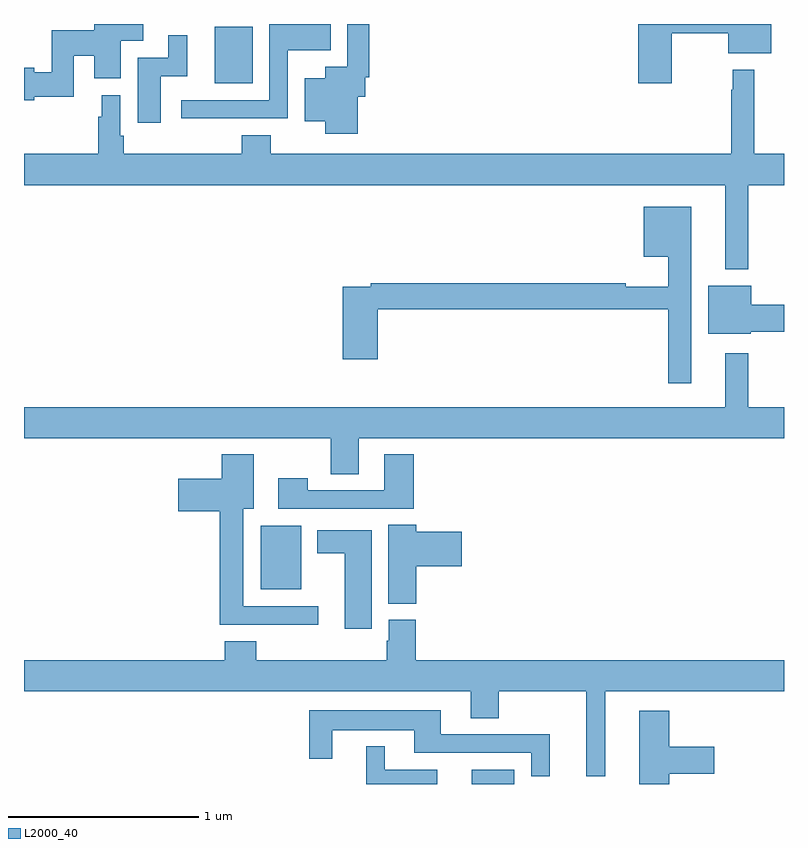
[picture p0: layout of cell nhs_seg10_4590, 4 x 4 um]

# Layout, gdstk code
import gdstk
lib = gdstk.Library(unit=1e-6, precision=1e-09)
def R(c, l, rs):  # rectangles x0, y0, x1, y1
    for r in rs: c.add(gdstk.rectangle(r[:2], r[2:], *l))
def P(c, l, *ps):  # polygons
    for p in ps: c.add(gdstk.Polygon(p, *l))
L2000_40 = (2000, 40)

nhs_seg10_4590 = lib.new_cell('nhs_seg10_4590')
R(nhs_seg10_4590, L2000_40, [(375.356,1294.5,375.58,1294.576), (374.246,1295.525,374.458,1295.86), (374.003,1298.189,374.203,1298.485)])
P(nhs_seg10_4590, L2000_40, [(373.054,1298.118),(373.263,1298.118),(373.263,1298.332),(373.37,1298.332),(373.37,1298.214),(373.51,1298.214),(373.51,1298.411),(373.627,1298.411),(373.627,1298.5),(373.37,1298.5),(373.37,1298.468),(373.147,1298.468),(373.147,1298.246),(373.054,1298.246),(373.054,1298.27),(373,1298.27),(373,1298.099),(373.054,1298.099)],
  [(376.41,1298.452),(376.706,1298.452),(376.706,1298.345),(376.933,1298.345),(376.933,1298.5),(376.232,1298.5),(376.232,1298.187),(376.41,1298.187)],
  [(374.063,1298.004),(374.388,1298.004),(374.388,1298.363),(374.615,1298.363),(374.615,1298.5),(374.292,1298.5),(374.292,1298.1),(373.827,1298.1),(373.827,1298.003),(374.063,1298.003)],
  [(374.756,1298.117),(374.796,1298.117),(374.796,1298.221),(374.816,1298.221),(374.816,1298.5),(374.7,1298.5),(374.7,1298.275),(374.585,1298.275),(374.585,1298.215),(374.477,1298.215),(374.477,1297.988),(374.585,1297.988),(374.585,1297.923),(374.756,1297.923)],
  [(373.72,1298.226),(373.858,1298.226),(373.858,1298.44),(373.76,1298.44),(373.76,1298.322),(373.598,1298.322),(373.598,1297.98),(373.72,1297.98)],
  [(376.813,1297.652),(377,1297.652),(377,1297.816),(376.843,1297.816),(376.843,1298.26),(376.729,1298.26),(376.729,1298.153),(376.722,1298.153),(376.722,1297.816),(374.299,1297.816),(374.299,1297.915),(374.147,1297.915),(374.147,1297.816),(373.526,1297.816),(373.526,1297.912),(373.506,1297.912),(373.506,1298.125),(373.409,1298.125),(373.409,1298.012),(373.39,1298.012),(373.39,1297.816),(373,1297.816),(373,1297.652),(376.691,1297.652),(376.691,1297.208),(376.813,1297.208)],
  [(376.513,1297.537),(376.262,1297.537),(376.262,1297.274),(376.392,1297.274),(376.392,1297.117),(376.166,1297.117),(376.166,1297.136),(374.824,1297.136),(374.824,1297.116),(374.678,1297.116),(374.678,1296.735),(374.861,1296.735),(374.861,1297),(376.392,1297),(376.392,1296.609),(376.513,1296.609)],
  [(376.824,1296.88),(377,1296.88),(377,1297.022),(376.828,1297.022),(376.828,1297.123),(376.601,1297.123),(376.601,1296.869),(376.824,1296.869)],
  [(374.761,1296.32),(377,1296.32),(377,1296.484),(376.813,1296.484),(376.813,1296.766),(376.691,1296.766),(376.691,1296.484),(373,1296.484),(373,1296.32),(374.614,1296.32),(374.614,1296.13),(374.761,1296.13)],
  [(375.05,1296.235),(374.897,1296.235),(374.897,1296.045),(374.493,1296.045),(374.493,1296.109),(374.337,1296.109),(374.337,1295.949),(375.05,1295.949)],
  [(374.548,1295.436),(374.155,1295.436),(374.155,1295.948),(374.209,1295.948),(374.209,1296.235),(374.042,1296.235),(374.042,1296.106),(373.812,1296.106),(373.812,1295.936),(374.03,1295.936),(374.03,1295.339),(374.548,1295.339)],
  [(375.065,1295.645),(375.304,1295.645),(375.304,1295.828),(375.065,1295.828),(375.065,1295.864),(374.918,1295.864),(374.918,1295.449),(375.065,1295.449)],
  [(374.83,1295.836),(374.543,1295.836),(374.543,1295.714),(374.687,1295.714),(374.687,1295.316),(374.83,1295.316)],
  [(375.35,1294.846),(375.498,1294.846),(375.498,1294.988),(375.959,1294.988),(375.959,1294.542),(376.058,1294.542),(376.058,1294.988),(377,1294.988),(377,1295.152),(375.062,1295.152),(375.062,1295.364),(374.921,1295.364),(374.921,1295.253),(374.909,1295.253),(374.909,1295.152),(374.222,1295.152),(374.222,1295.251),(374.057,1295.251),(374.057,1295.152),(373,1295.152),(373,1294.988),(375.35,1294.988)],
  [(375.767,1294.761),(375.193,1294.761),(375.193,1294.888),(374.502,1294.888),(374.502,1294.632),(374.623,1294.632),(374.623,1294.784),(375.053,1294.784),(375.053,1294.665),(375.669,1294.665),(375.669,1294.542),(375.767,1294.542)],
  [(376.397,1294.553),(376.633,1294.553),(376.633,1294.695),(376.397,1294.695),(376.397,1294.885),(376.238,1294.885),(376.238,1294.5),(376.397,1294.5)],
  [(375.176,1294.575),(374.899,1294.575),(374.899,1294.699),(374.801,1294.699),(374.801,1294.5),(375.176,1294.5)])

lib.write_gds('nhs_seg10_4590.gds')
